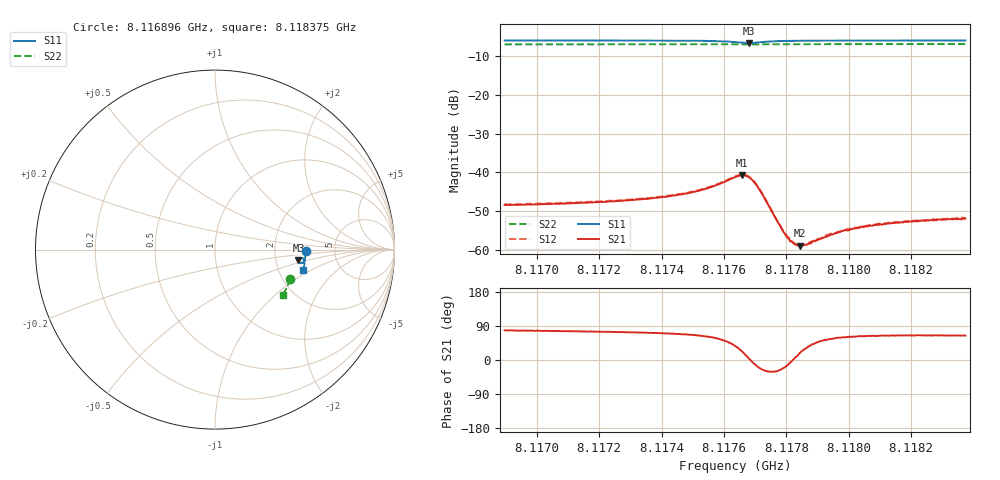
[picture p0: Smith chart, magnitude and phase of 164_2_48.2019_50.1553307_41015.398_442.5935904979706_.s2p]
#  HZ  S  RI  R  50.00
! Rohde & Schwarz Vector Network Analyzer
! Rohde-Schwarz,ZNB20-2Port,1311601062101988,3.16
! Created: UTC 3/20/2024, 11:43:21 AM
! freq[Hz]  re:S11  im:S11  re:S21  im:S21  re:S12  im:S12  re:S22  im:S22
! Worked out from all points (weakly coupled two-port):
!   401 points, 8.116896 GHz to 8.118375 GHz, reference 50 ohm
!   highest |S21| = -40.78 dB at 8.117658 GHz (marker M1); lowest = -59.0 dB at 8.117842 GHz (marker M2)
!   lowest |S11| = -6.6 dB at 8.11768 GHz (marker M3), VSWR 2.76, Z = 135 - j20.2 ohm
!   |S11| at or under -10 dB: nowhere
!   |S22| runs from -6.9 to -6.8 dB; largest |S21 - S12| = 0.00023
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8.1168965e9  0.5063 -0.00903  0.000756 0.00371  0.000828 0.00377  0.42 -0.1625
8.1171441e9  0.505 -0.0286  0.00101 0.00391  0.00108 0.00398  0.4141 -0.1788
8.117266e9  0.5039 -0.0388  0.00121 0.00411  0.00128 0.00417  0.4111 -0.1868
8.1173916e9  0.502 -0.0499  0.00156 0.00446  0.00161 0.00453  0.4076 -0.1949
8.1175173e9  0.4976 -0.0632  0.00242 0.00521  0.0025 0.00528  0.4039 -0.2032
8.1175653e9  0.4933 -0.0694  0.00335 0.00567  0.00346 0.00575  0.4024 -0.2062
8.1176355e9  0.4766 -0.0753  0.00685 0.00527  0.00704 0.00531  0.3995 -0.2105
8.1176577e9  0.4681 -0.0701  0.00841 0.00358  0.00859 0.00355  0.3986 -0.2115
8.1176798e9  0.4648 -0.0586  0.00865 0.000666  0.00883 0.000554  0.3979 -0.2121
8.1176946e9  0.4684 -0.0509  0.00757 -0.00109  0.00774 -0.00116  0.3978 -0.2129
8.1177131e9  0.4762 -0.0461  0.00566 -0.00214  0.00574 -0.00224  0.3977 -0.2139
8.1177796e9  0.4942 -0.0539  0.00183 -0.000915  0.00186 -0.000954  0.3964 -0.2182
8.1178055e9  0.4963 -0.0583  0.00138 -0.000322  0.00141 -0.000314  0.3958 -0.2199
8.1178276e9  0.4975 -0.0616  0.00117 0.000115  0.00121 0.000103  0.3951 -0.2214
8.1178424e9  0.4979 -0.0637  0.00107 0.000345  0.00111 0.000331  0.3945 -0.2226
8.1178609e9  0.4981 -0.066  0.001 0.000578  0.00101 0.0006  0.394 -0.2237
8.1178831e9  0.4984 -0.0687  0.000942 0.000842  0.000981 0.000835  0.3932 -0.2251
8.1179348e9  0.4985 -0.0744  0.000872 0.00122  0.000887 0.00126  0.3916 -0.2285
8.1179828e9  0.4981 -0.0792  0.000881 0.00152  0.000927 0.00151  0.39 -0.2315
8.1180678e9  0.4972 -0.0868  0.000928 0.00183  0.000957 0.00185  0.3872 -0.2367
8.1181306e9  0.4964 -0.0921  0.000966 0.00198  0.00096 0.00203  0.3849 -0.2405
8.1183745e9  0.4926 -0.1113  0.00109 0.00229  0.00112 0.00232  0.3762 -0.2555
